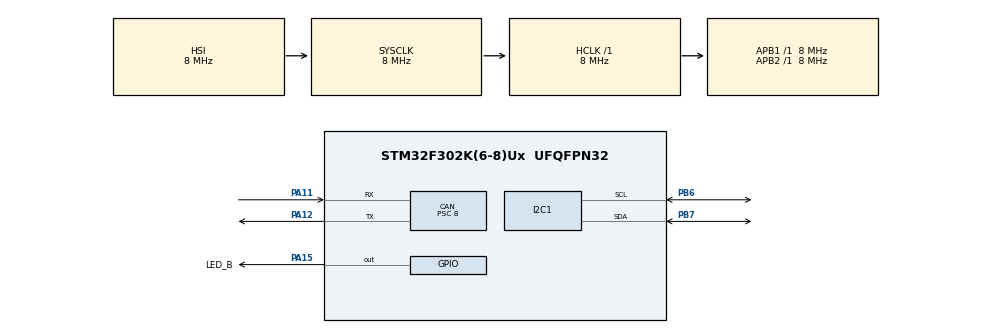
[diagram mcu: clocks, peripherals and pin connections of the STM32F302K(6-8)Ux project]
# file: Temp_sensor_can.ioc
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Mcu.Family=STM32F3
RCC.CortexFreq_Value=8000000
VP_TIM6_VS_OPM.Mode=OPM_bit
NVIC.TIM6_DAC_IRQn=true\:0\:0\:false\:false\:true\:true\:true
CAN.CalculateBaudRate=125000
TIM6.Prescaler=199
VP_TIM6_VS_ClockSourceINT.Mode=Enable_Timer
PA11.Mode=CAN_Activate
CAN.CalculateTimeBit=8000.00
ProjectManager.StackSize=0x400
PA13.Signal=SYS_JTMS-SWDIO
PA15.GPIO_Label=LED_B
PA12.Signal=CAN_TX
CAN.BS2=CAN_BS2_4TQ
CAN.Prescaler=8
CAN.BS1=CAN_BS1_3TQ
ProjectManager.TargetToolchain=STM32CubeIDE
RCC.HCLKFreq_Value=8000000
RCC.APB2TimFreq_Value=8000000
PB6.Signal=I2C1_SCL
PB6.Mode=I2C
RCC.USBFreq_Value=20000000
CAN.Mode=CAN_MODE_NORMAL
RCC.AHBFreq_Value=8000000
RCC.HSE_VALUE=8000000
board=custom
RCC.PLLMUL=RCC_PLL_MUL5
RCC.APB2Freq_Value=8000000
PA14.Mode=Serial_Wire
PB7.Signal=I2C1_SDA
TIM6.Period=1999
PA13.Mode=Serial_Wire
Mcu.Name=STM32F302K(6-8)Ux
CAN.CalculateTimeQuantum=1000.0
RCC.SYSCLKFreq_VALUE=8000000
Mcu.Package=UFQFPN32
PA12.Mode=CAN_Activate
PB7.Mode=I2C
PA11.Signal=CAN_RX
PA14.Signal=SYS_JTCK-SWCLK
PA15.Signal=GPIO_Output
ProjectManager.HeapSize=0x200
RCC.HSI_VALUE=8000000
NVIC.PriorityGroup=NVIC_PRIORITYGROUP_4
RCC.APB1TimFreq_Value=8000000
RCC.APB1Freq_Value=8000000

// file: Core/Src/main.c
/* USER CODE BEGIN Header */
/**
  ******************************************************************************
  * @file           : main.c
  * @brief          : Main program body
  ******************************************************************************
  * @attention
  *
  * <h2><center>&copy; Copyright (c) 2022 STMicroelectronics.
  * All rights reserved.</center></h2>
  *
  * This software component is licensed by ST under BSD 3-Clause license,
  * the "License"; You may not use this file except in compliance with the
  * License. You may obtain a copy of the License at:
  *                        opensource.org/licenses/BSD-3-Clause
  *
  ******************************************************************************
  */
/* USER CODE END Header */
#include "main.h"

/* USER CODE BEGIN Includes */
#include "SI7051.h"
/* USER CODE END Includes */

CAN_HandleTypeDef hcan;

I2C_HandleTypeDef hi2c1;

TIM_HandleTypeDef htim6;

/* USER CODE BEGIN PV */
//////////////////////////////////CAN/////////////////////////////////////
CAN_TxHeaderTypeDef header,pRXHeader, pTXheader;

uint32_t 	TXMailbox[3];						//CAN transmit buffers
uint8_t 	txBuffer[8], RX_Data[8];
//////////////////////////////////CAN/////////////////////////////////////
/* USER CODE END PV */

void SystemClock_Config(void);
static void MX_GPIO_Init(void);
static void MX_CAN_Init(void);
static void MX_I2C1_Init(void);
static void MX_TIM6_Init(void);
/* USER CODE BEGIN PFP */
void CAN_filter_Init(void)
{
	CAN_FilterTypeDef sFilterConfig;
	sFilterConfig.FilterMode = CAN_FILTERMODE_IDMASK;
	sFilterConfig.FilterBank = 0;
	sFilterConfig.FilterFIFOAssignment = CAN_FILTER_FIFO0;
	sFilterConfig.FilterIdHigh = 0x0000;
	sFilterConfig.FilterIdLow = 0x0000;
	sFilterConfig.FilterMaskIdHigh = 0x0000;
	sFilterConfig.FilterMaskIdLow = 0x0000;
	sFilterConfig.FilterScale = CAN_FILTERSCALE_16BIT;
	sFilterConfig.FilterActivation = ENABLE;
	HAL_CAN_ConfigFilter(&hcan, &sFilterConfig);
}
void txCAN(CAN_HandleTypeDef* hcan,CAN_TxHeaderTypeDef * header,uint8_t txBuffer[],uint32_t *TxMailbox, int16_t temp)
{
	header->StdId = 0x755;
	header->ExtId = 0x01;
	header->RTR = CAN_RTR_DATA;
	header->IDE = CAN_ID_STD;
	header->DLC = 4;
	header->TransmitGlobalTime = DISABLE;

	txBuffer[0]=(uint8_t)(temp & 0xff);
	txBuffer[1]=(uint8_t)((temp >> 8) & 0xff);
	txBuffer[2]=0;
	txBuffer[3]=0;

	HAL_CAN_AddTxMessage(hcan, header, txBuffer, TxMailbox);
	HAL_GPIO_WritePin(LED_B_GPIO_Port, LED_B_Pin, GPIO_PIN_SET);
	HAL_Delay(50);
	HAL_GPIO_WritePin(LED_B_GPIO_Port, LED_B_Pin, GPIO_PIN_RESET);
}
void HAL_TIM_PeriodElapsedCallback(TIM_HandleTypeDef *htim)
{
	if (htim->Instance == TIM6)		//blikanie led
	{
		HAL_GPIO_TogglePin(LED_B_GPIO_Port, LED_B_Pin);
	}
}
/* USER CODE END PFP */

int main(void)
{
  /* USER CODE BEGIN 1 */
int16_t temperature = 0;
uint32_t timestamp=0;
  /* USER CODE END 1 */

  /* MCU Configuration--------------------------------------------------------*/

  /* Reset of all peripherals, Initializes the Flash interface and the Systick. */
  HAL_Init();

  /* Configure the system clock */
  SystemClock_Config();

  /* Initialize all configured peripherals */
  MX_GPIO_Init();
  MX_CAN_Init();
  MX_I2C1_Init();
  MX_TIM6_Init();
  /* USER CODE BEGIN 2 */
  SI7051_start_conversion(&hi2c1);
  HAL_Delay(200);
  temperature = SI7051_read_temperature(&hi2c1);
  HAL_CAN_Start(&hcan);
  CAN_filter_Init();
  /* USER CODE END 2 */

  /* Infinite loop */
  /* USER CODE BEGIN WHILE */
  while (1)
  {
	  /**************reset CAN rozhrania ked nastane chyba*/
		if (HAL_CAN_GetError(&hcan) == 2097152)
		{
			HAL_CAN_DeInit(&hcan);
			MX_CAN_Init();
			CAN_filter_Init();
		}
		/**************reset CAN rozhrania ked nastane chyba*/

	  SI7051_start_conversion(&hi2c1);
	    HAL_Delay(200);
	    temperature = SI7051_read_temperature(&hi2c1);

	    if(HAL_GetTick() - timestamp > 1000)
	    {
			  txCAN(&hcan, &header, txBuffer, TXMailbox,temperature); //send CAN message
			  timestamp = HAL_GetTick();
	    }
    /* USER CODE END WHILE */

  }
}

void SystemClock_Config(void)
{
  RCC_OscInitTypeDef RCC_OscInitStruct = {0};
  RCC_ClkInitTypeDef RCC_ClkInitStruct = {0};
  RCC_PeriphCLKInitTypeDef PeriphClkInit = {0};

  /** Initializes the RCC Oscillators according to the specified parameters
  * in the RCC_OscInitTypeDef structure.
  */
  RCC_OscInitStruct.OscillatorType = RCC_OSCILLATORTYPE_HSI;
  RCC_OscInitStruct.HSIState = RCC_HSI_ON;
  RCC_OscInitStruct.HSICalibrationValue = RCC_HSICALIBRATION_DEFAULT;
  RCC_OscInitStruct.PLL.PLLState = RCC_PLL_NONE;
  if (HAL_RCC_OscConfig(&RCC_OscInitStruct) != HAL_OK)
  {
    Error_Handler();
  }
  /** Initializes the CPU, AHB and APB buses clocks
  */
  RCC_ClkInitStruct.ClockType = RCC_CLOCKTYPE_HCLK|RCC_CLOCKTYPE_SYSCLK
                              |RCC_CLOCKTYPE_PCLK1|RCC_CLOCKTYPE_PCLK2;
  RCC_ClkInitStruct.SYSCLKSource = RCC_SYSCLKSOURCE_HSI;
  RCC_ClkInitStruct.AHBCLKDivider = RCC_SYSCLK_DIV1;
  RCC_ClkInitStruct.APB1CLKDivider = RCC_HCLK_DIV1;
  RCC_ClkInitStruct.APB2CLKDivider = RCC_HCLK_DIV1;

  if (HAL_RCC_ClockConfig(&RCC_ClkInitStruct, FLASH_LATENCY_0) != HAL_OK)
  {
    Error_Handler();
  }
  PeriphClkInit.PeriphClockSelection = RCC_PERIPHCLK_I2C1;
  PeriphClkInit.I2c1ClockSelection = RCC_I2C1CLKSOURCE_HSI;
  if (HAL_RCCEx_PeriphCLKConfig(&PeriphClkInit) != HAL_OK)
  {
    Error_Handler();
  }
}

static void MX_CAN_Init(void)
{

  hcan.Instance = CAN;
  hcan.Init.Prescaler = 8;
  hcan.Init.Mode = CAN_MODE_NORMAL;
  hcan.Init.SyncJumpWidth = CAN_SJW_1TQ;
  hcan.Init.TimeSeg1 = CAN_BS1_3TQ;
  hcan.Init.TimeSeg2 = CAN_BS2_4TQ;
  hcan.Init.TimeTriggeredMode = DISABLE;
  hcan.Init.AutoBusOff = DISABLE;
  hcan.Init.AutoWakeUp = DISABLE;
  hcan.Init.AutoRetransmission = DISABLE;
  hcan.Init.ReceiveFifoLocked = DISABLE;
  hcan.Init.TransmitFifoPriority = DISABLE;
  if (HAL_CAN_Init(&hcan) != HAL_OK)
  {
    Error_Handler();
  }

}

static void MX_I2C1_Init(void)
{

  hi2c1.Instance = I2C1;
  hi2c1.Init.Timing = 0x2000090E;
  hi2c1.Init.OwnAddress1 = 0;
  hi2c1.Init.AddressingMode = I2C_ADDRESSINGMODE_7BIT;
  hi2c1.Init.DualAddressMode = I2C_DUALADDRESS_DISABLE;
  hi2c1.Init.OwnAddress2 = 0;
  hi2c1.Init.OwnAddress2Masks = I2C_OA2_NOMASK;
  hi2c1.Init.GeneralCallMode = I2C_GENERALCALL_DISABLE;
  hi2c1.Init.NoStretchMode = I2C_NOSTRETCH_DISABLE;
  if (HAL_I2C_Init(&hi2c1) != HAL_OK)
  {
    Error_Handler();
  }
  /** Configure Analogue filter
  */
  if (HAL_I2CEx_ConfigAnalogFilter(&hi2c1, I2C_ANALOGFILTER_ENABLE) != HAL_OK)
  {
    Error_Handler();
  }
  /** Configure Digital filter
  */
  if (HAL_I2CEx_ConfigDigitalFilter(&hi2c1, 0) != HAL_OK)
  {
    Error_Handler();
  }

}

static void MX_TIM6_Init(void)
{

  TIM_MasterConfigTypeDef sMasterConfig = {0};

  htim6.Instance = TIM6;
  htim6.Init.Prescaler = 199;
  htim6.Init.CounterMode = TIM_COUNTERMODE_UP;
  htim6.Init.Period = 1999;
  htim6.Init.AutoReloadPreload = TIM_AUTORELOAD_PRELOAD_DISABLE;
  if (HAL_TIM_Base_Init(&htim6) != HAL_OK)
  {
    Error_Handler();
  }
  if (HAL_TIM_OnePulse_Init(&htim6, TIM_OPMODE_SINGLE) != HAL_OK)
  {
    Error_Handler();
  }
  sMasterConfig.MasterOutputTrigger = TIM_TRGO_RESET;
  sMasterConfig.MasterSlaveMode = TIM_MASTERSLAVEMODE_DISABLE;
  if (HAL_TIMEx_MasterConfigSynchronization(&htim6, &sMasterConfig) != HAL_OK)
  {
    Error_Handler();
  }

}

static void MX_GPIO_Init(void)
{
  GPIO_InitTypeDef GPIO_InitStruct = {0};

  /* GPIO Ports Clock Enable */
  __HAL_RCC_GPIOA_CLK_ENABLE();
  __HAL_RCC_GPIOB_CLK_ENABLE();

  /*Configure GPIO pin Output Level */
  HAL_GPIO_WritePin(LED_B_GPIO_Port, LED_B_Pin, GPIO_PIN_RESET);

  /*Configure GPIO pin : LED_B_Pin */
  GPIO_InitStruct.Pin = LED_B_Pin;
  GPIO_InitStruct.Mode = GPIO_MODE_OUTPUT_PP;
  GPIO_InitStruct.Pull = GPIO_NOPULL;
  GPIO_InitStruct.Speed = GPIO_SPEED_FREQ_LOW;
  HAL_GPIO_Init(LED_B_GPIO_Port, &GPIO_InitStruct);

}

void Error_Handler(void)
{
  __disable_irq();
  while (1)
  {
  }
}

/************************ (C) COPYRIGHT STMicroelectronics *****END OF FILE****/
